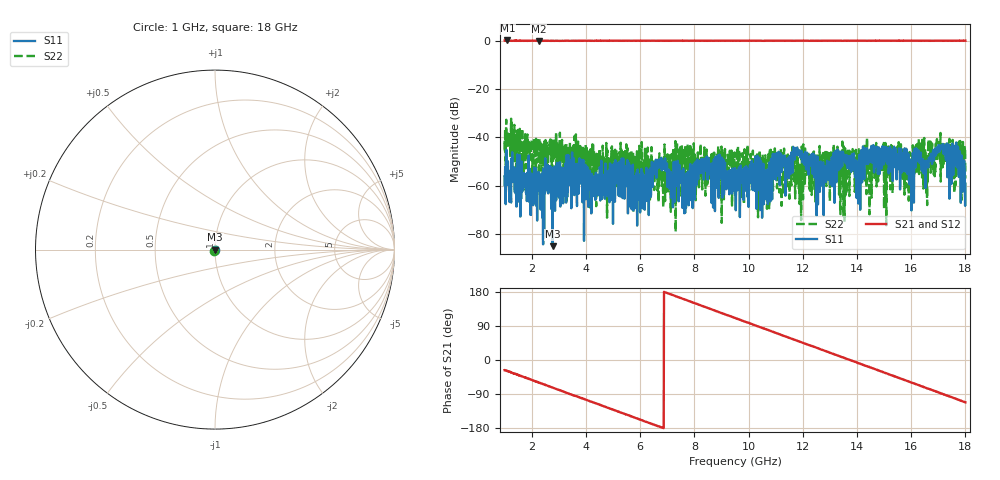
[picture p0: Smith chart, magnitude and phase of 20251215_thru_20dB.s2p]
#  HZ  S  DB  R  50.00
! Rohde & Schwarz ZVA40 4Ports - Version 4.11 - 1145.1110k42 SN: 100337
! Date: 2025-12-16 12:52:55
! Measurements: S11 S41 S14 S44
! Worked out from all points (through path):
!   1701 points, 1 GHz to 18 GHz, reference 50 ohm
!   highest |S21| = 0.15 dB at 1.1 GHz (marker M1); lowest = -0.1 dB at 2.26 GHz (marker M2)
!   group delay of S21, straight-line fit = 72.7 ps
!   lowest |S11| = -85.0 dB at 2.77 GHz (marker M3), VSWR 1.00, Z = 50 + j0.00141 ohm
!   |S11| at or under -10 dB: start of sweep to end of sweep
!   |S22| runs from -79.1 to -32.3 dB; largest |S21 - S12| = 0.022
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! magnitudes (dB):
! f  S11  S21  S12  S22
! 1 GHz  -56.1  0.1  -0.1  -41.4
! 1.1 GHz  -50.1  0.2  0.0  -42.9
! 2.26 GHz  -54.3  -0.1  0.0  -58.5
! 2.77 GHz  -85.0  0.0  0.0  -54.3
! 3.84 GHz  -49.2  0.1  0.0  -46.3
! 6.18 GHz  -63.3  0.1  0.0  -44.7
! 6.67 GHz  -52.5  0.0  0.0  -50.6
! 7.64 GHz  -63.7  0.0  0.0  -46.7
! 8.39 GHz  -49.2  0.0  0.0  -50.9
! 9.5 GHz  -52.7  0.0  0.0  -64.0
! 10.64 GHz  -59.2  0.1  0.0  -50.9
! 11.73 GHz  -44.8  0.0  0.0  -55.3
! 12.34 GHz  -49.5  0.0  0.0  -56.2
! 12.56 GHz  -67.7  0.0  0.0  -53.9
! 13.48 GHz  -45.9  0.0  0.0  -58.9
! 14.05 GHz  -67.4  0.1  0.0  -51.1
! 14.29 GHz  -44.5  0.0  0.0  -51.0
! 15.17 GHz  -54.9  0.1  0.0  -46.1
! 16.02 GHz  -54.1  0.0  0.0  -51.1
! 17.1 GHz  -44.3  0.1  0.0  -47.0
! 17.66 GHz  -42.1  0.1  0.0  -52.5
! 18 GHz  -59.1  0.1  0.0  -57.0
